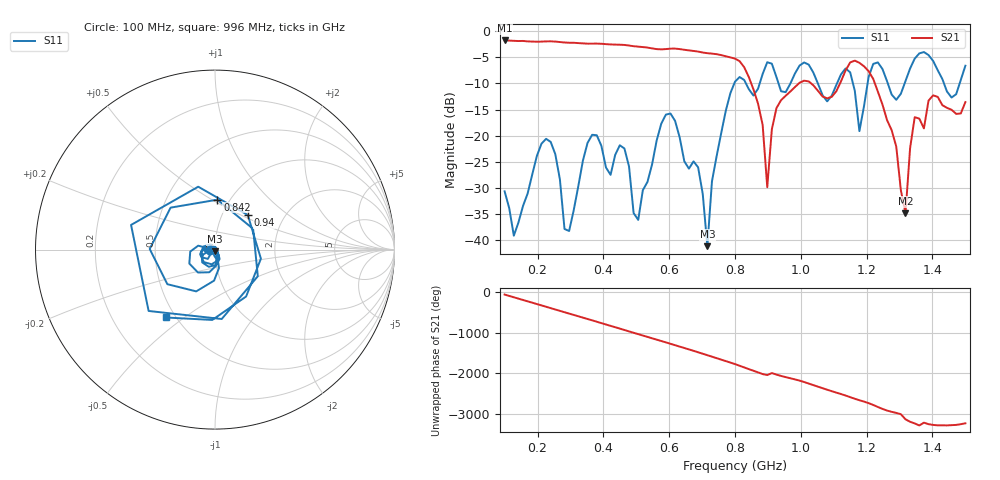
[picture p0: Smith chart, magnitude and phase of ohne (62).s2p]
! NanoVNA-App
! Date: 2025-09-25 14:21:17
! Start: 100MHz Stop: 1,5GHz Points: 101
! S-Parameter data: F S11 S21 S12 S22
# Hz S RI R 50
!  Frequency  S11_Real  S11_Imag  S21_Real  S21_Imag  S12_Real  S12_Imag  S22_Real  S22_Imag
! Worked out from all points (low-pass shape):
!   101 points, 100 MHz to 1.5 GHz, reference 50 ohm
!   highest |S21| = -1.79 dB at 100 MHz (marker M1); lowest = -34.8 dB at 1.318 GHz (marker M2)
!   |S21| within 3 dB of the highest: start of sweep to 770.7 MHz
!   lowest |S11| = -41.1 dB at 716 MHz (marker M3), VSWR 1.02, Z = 49.8 - j0.863 ohm
!   |S11| at or under -10 dB: start of sweep to 798 MHz; 833.1 MHz to 875.1 MHz (41.98 MHz wide, 4.91 % of centre); 1.052 GHz to 1.11 GHz (58.31 MHz wide, 5.39 % of centre)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
!   S12 and S22 are empty: the file has one direction only
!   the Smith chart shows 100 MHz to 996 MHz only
!   S11 on the Smith chart (normalised r, x): 100 MHz: 0.94, -0.01; 842 MHz: 0.88, +0.53; 940 MHz: 1.32, +0.55; 996 MHz: 0.44, -0.43
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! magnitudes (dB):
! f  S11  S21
! 100 MHz  -30.6  -1.8
! 128 MHz  -39.1  -1.9
! 226 MHz  -20.6  -2.0
! 296 MHz  -38.2  -2.2
! 338 MHz  -24.7  -2.4
! 464 MHz  -22.5  -2.7
! 506 MHz  -36.1  -3.0
! 576 MHz  -17.7  -3.5
! 688 MHz  -26.1  -3.9
! 716 MHz  -41.1  -4.2
! 800 MHz  -9.7  -5.3
! 842 MHz  -11.1  -8.8
! 898 MHz  -6.0  -29.9
! 940 MHz  -11.5  -13.2
! 996 MHz  -6.6  -9.9
! 1.038 GHz  -7.9  -10.4
! 1.178 GHz  -19.1  -6.1
! 1.22 GHz  -6.3  -9.2
! 1.276 GHz  -12.1  -18.9
! 1.318 GHz  -9.6  -34.8
! 1.346 GHz  -5.3  -16.5
! 1.5 GHz  -6.6  -13.6
